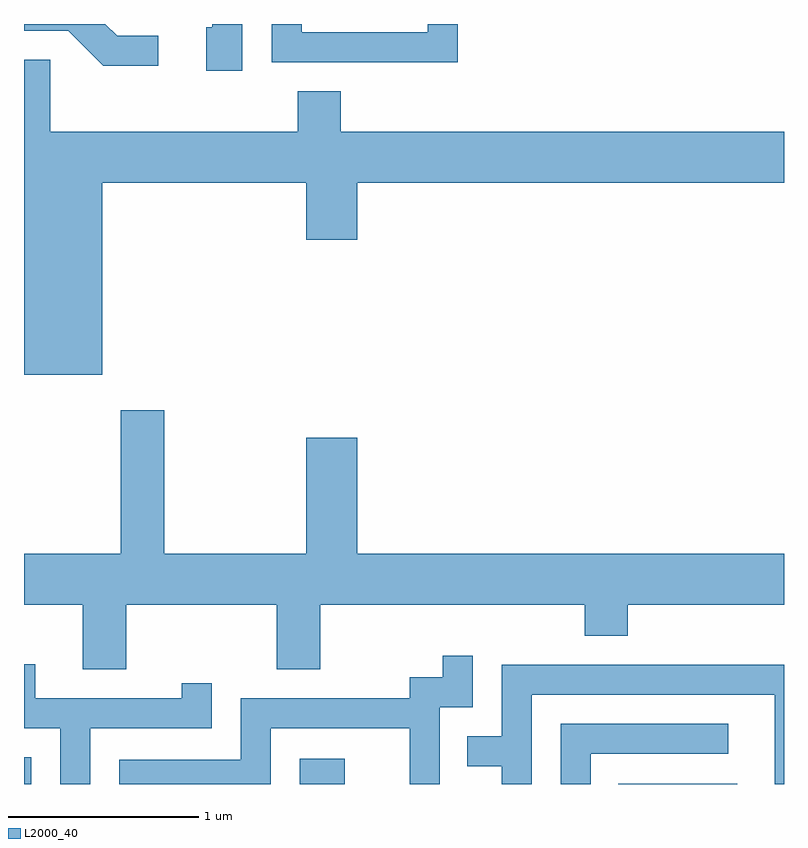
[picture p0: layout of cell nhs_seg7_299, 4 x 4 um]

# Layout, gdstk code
import gdstk
lib = gdstk.Library(unit=1e-6, precision=1e-09)
def R(c, l, rs):  # rectangles x0, y0, x1, y1
    for r in rs: c.add(gdstk.rectangle(r[:2], r[2:], *l))
def P(c, l, *ps):  # polygons
    for p in ps: c.add(gdstk.Polygon(p, *l))
L2000_40 = (2000, 40)

nhs_seg7_299 = lib.new_cell('nhs_seg7_299')
R(nhs_seg7_299, L2000_40, [(193.611,1722.252,193.649,1722.394), (195.061,1722.252,195.298,1722.384), (196.738,1722.252,197.364,1722.254)])
P(nhs_seg7_299, L2000_40, [(195.894,1726.252),(195.736,1726.252),(195.736,1726.209),(195.074,1726.209),(195.074,1726.252),(194.916,1726.252),(194.916,1726.051),(195.894,1726.051)],
  [(194.318,1726.189),(194.102,1726.189),(194.039,1726.252),(193.611,1726.252),(193.611,1726.216),(193.844,1726.216),(194.029,1726.031),(194.318,1726.031)],
  [(194.759,1726.252),(194.601,1726.252),(194.601,1726.234),(194.571,1726.234),(194.571,1726.006),(194.759,1726.006)],
  [(194.024,1725.416),(195.096,1725.416),(195.096,1725.116),(195.364,1725.116),(195.364,1725.416),(197.611,1725.416),(197.611,1725.684),(195.279,1725.684),(195.279,1725.899),(195.051,1725.899),(195.051,1725.684),(193.749,1725.684),(193.749,1726.064),(193.611,1726.064),(193.611,1724.406),(194.024,1724.406)],
  [(194.149,1723.196),(194.941,1723.196),(194.941,1722.856),(195.169,1722.856),(195.169,1723.196),(196.561,1723.196),(196.561,1723.031),(196.789,1723.031),(196.789,1723.196),(197.611,1723.196),(197.611,1723.464),(195.364,1723.464),(195.364,1724.074),(195.096,1724.074),(195.096,1723.464),(194.349,1723.464),(194.349,1724.219),(194.121,1724.219),(194.121,1723.464),(193.611,1723.464),(193.611,1723.196),(193.921,1723.196),(193.921,1722.856),(194.149,1722.856)],
  [(194.909,1722.546),(195.641,1722.546),(195.641,1722.252),(195.799,1722.252),(195.799,1722.656),(195.974,1722.656),(195.974,1722.928),(195.816,1722.928),(195.816,1722.814),(195.641,1722.814),(195.641,1722.704),(194.751,1722.704),(194.751,1722.379),(194.111,1722.379),(194.111,1722.252),(194.909,1722.252)],
  [(193.959,1722.546),(194.599,1722.546),(194.599,1722.783),(194.441,1722.783),(194.441,1722.704),(193.669,1722.704),(193.669,1722.883),(193.611,1722.883),(193.611,1722.546),(193.801,1722.546),(193.801,1722.252),(193.959,1722.252)],
  [(196.284,1722.721),(197.561,1722.721),(197.561,1722.252),(197.611,1722.252),(197.611,1722.879),(196.126,1722.879),(196.126,1722.504),(195.943,1722.504),(195.943,1722.346),(196.126,1722.346),(196.126,1722.252),(196.284,1722.252)],
  [(196.594,1722.411),(197.318,1722.411),(197.318,1722.569),(196.436,1722.569),(196.436,1722.252),(196.594,1722.252)])

lib.write_gds('nhs_seg7_299.gds')
